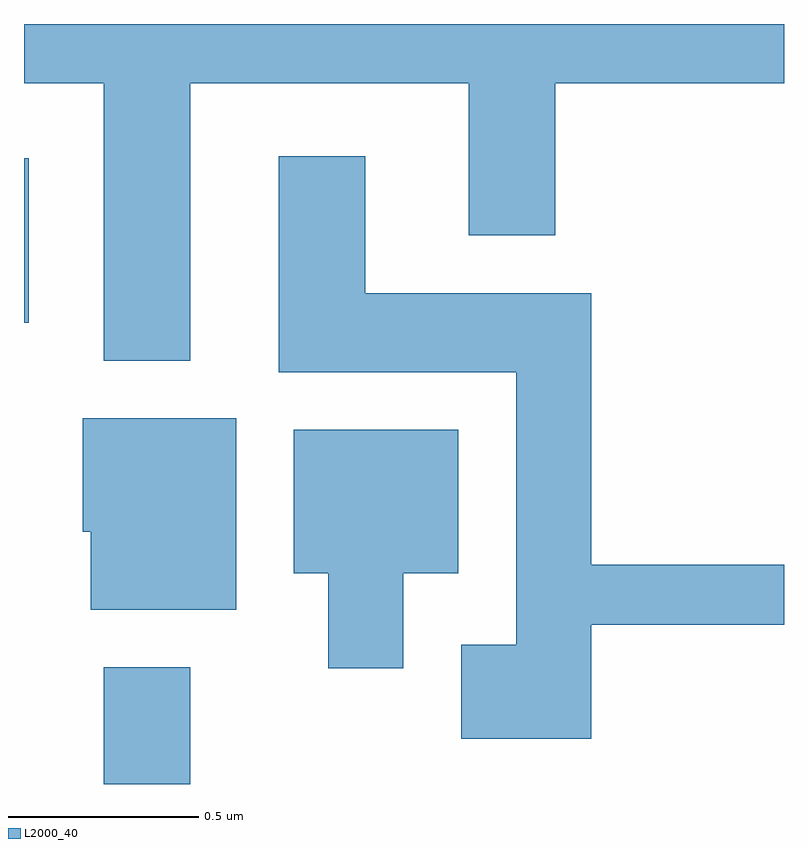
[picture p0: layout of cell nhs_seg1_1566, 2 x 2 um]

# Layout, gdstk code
import gdstk
lib = gdstk.Library(unit=1e-6, precision=1e-09)
def R(c, l, rs):  # rectangles x0, y0, x1, y1
    for r in rs: c.add(gdstk.rectangle(r[:2], r[2:], *l))
def P(c, l, *ps):  # polygons
    for p in ps: c.add(gdstk.Polygon(p, *l))
L2000_40 = (2000, 40)

nhs_seg1_1566 = lib.new_cell('nhs_seg1_1566')
R(nhs_seg1_1566, L2000_40, [(196.821,917.712,197.049,918.019), (196.611,918.926,196.624,919.359)])
P(nhs_seg1_1566, L2000_40, [(197.049,919.556),(197.781,919.556),(197.781,919.156),(198.009,919.156),(198.009,919.556),(198.611,919.556),(198.611,919.712),(196.611,919.712),(196.611,919.556),(196.821,919.556),(196.821,918.826),(197.049,918.826)],
  [(198.104,918.131),(198.611,918.131),(198.611,918.289),(198.104,918.289),(198.104,919.004),(197.509,919.004),(197.509,919.364),(197.281,919.364),(197.281,918.796),(197.906,918.796),(197.906,918.079),(197.761,918.079),(197.761,917.831),(198.104,917.831)],
  [(197.169,918.674),(196.766,918.674),(196.766,918.376),(196.786,918.376),(196.786,918.171),(197.169,918.171)],
  [(197.609,918.266),(197.754,918.266),(197.754,918.644),(197.321,918.644),(197.321,918.266),(197.411,918.266),(197.411,918.016),(197.609,918.016)])

lib.write_gds('nhs_seg1_1566.gds')
